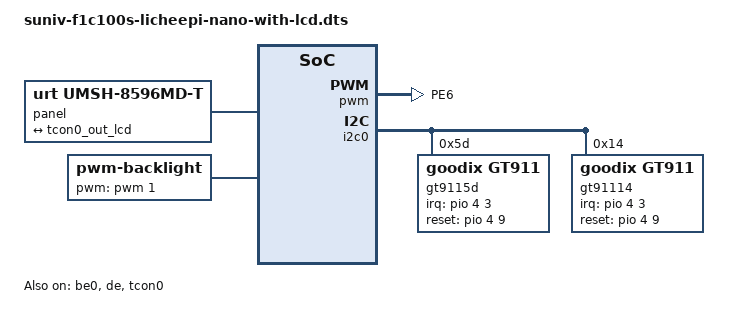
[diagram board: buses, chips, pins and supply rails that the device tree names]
/*
 * Copyright (C) 2018 Icenowy Zheng <icenowy@aosc.io>
 *
 * SPDX-License-Identifier: (GPL-2.0+ OR X11)
 */

#include <dt-bindings/input/input.h>
#include <dt-bindings/interrupt-controller/irq.h>

#include "suniv-f1c100s-licheepi-nano.dts"

/ {
	panel: panel {
		compatible = "urt,umsh-8596md-t", "simple-panel";
		#address-cells = <1>;
		#size-cells = <0>;

		port@0 {
			reg = <0>;
			#address-cells = <1>;
			#size-cells = <0>;

			panel_input: endpoint@0 {
				reg = <0>;
				remote-endpoint = <&tcon0_out_lcd>;
			};
		};
	};
	backlight {
		compatible = "pwm-backlight";
		pwms = <&pwm 1 500000 0>;
		brightness-levels = <0 4 8 16 32 64 128 255>;
		default-brightness-level = <6>;
	};
};

&pio {
	pwm0_pins: pwm0 {
		pins = "PE12";
		function = "pwm0";
	};
	pwm1_pins: pwm1 {
		pins = "PE6";
		function = "pwm1";
	};
};

&pwm {
	pinctrl-names = "default";
	pinctrl-0 = <&pwm1_pins>;
	status = "okay";
};

&be0 {
	status = "okay";
};

&de {
	status = "okay";
};

&tcon0 {
	pinctrl-names = "default";
	pinctrl-0 = <&lcd_rgb666_pins>;
	status = "okay";
};

&tcon0_out {
	tcon0_out_lcd: endpoint@0 {
		reg = <0>;
		remote-endpoint = <&panel_input>;
	};
};

&i2c0 {
        pinctrl-0 = <&i2c0_pins>;
        pinctrl-names = "default";
        status = "okay";

        gt9115d: touchscreen@5d {
                compatible = "goodix,gt911";
                reg = <0x5d>;
                interrupt-parent = <&pio>;
                interrupts = <4 3 IRQ_TYPE_EDGE_FALLING>; /* (PE3) */
                pinctrl-names = "default";
                pinctrl-0 = <&ts_reset_pin>;
                irq-gpios = <&pio 4 3 GPIO_ACTIVE_HIGH>; /* (PE3) */
                reset-gpios = <&pio 4 9 GPIO_ACTIVE_HIGH>; /* RST (PE9) */
                touchscreen-swapped-x-y;
        };

        gt91114: touchscreen@14 {
                compatible = "goodix,gt911";
                reg = <0x14>;
                interrupt-parent = <&pio>;
                interrupts = <4 3 IRQ_TYPE_EDGE_FALLING>; /* (PE3) */
                pinctrl-names = "default";
                pinctrl-0 = <&ts_reset_pin>;
                irq-gpios = <&pio 4 3 GPIO_ACTIVE_HIGH>; /* (PE3) */
                reset-gpios = <&pio 4 9 GPIO_ACTIVE_HIGH>; /* RST (PE9) */
                touchscreen-swapped-x-y;
        };
};

&pio {
        ts_reset_pin: ts_reset_pin@0 {
                pins = "PE9";
                function = "gpio_out";
        };
};

